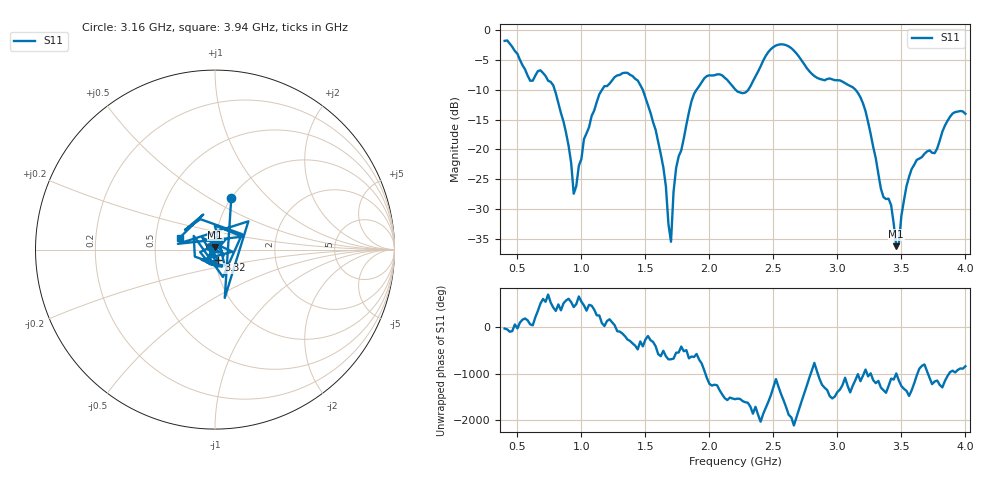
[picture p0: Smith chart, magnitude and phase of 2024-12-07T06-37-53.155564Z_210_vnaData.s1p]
!Created with skrf (http://scikit-rf.org).
# Hz S RI R 50.0
!freq ReS11 ImS11
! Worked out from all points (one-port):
!   181 points, 400 MHz to 4 GHz, reference 50 ohm
!   lowest |S11| = -36.2 dB at 3.46 GHz (marker M1), VSWR 1.03, Z = 50 + j1.54 ohm
!   |S11| at or under -10 dB: 791.5 MHz to 1.16 GHz (368.7 MHz wide, 37.8 % of centre); 1.48 GHz to 1.899 GHz (419 MHz wide, 24.8 % of centre); 3.142 GHz to end of sweep (the widest 3 of 4)
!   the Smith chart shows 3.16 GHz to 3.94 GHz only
!   S11 on the Smith chart (normalised r, x): 3.16 GHz: 1.00, +0.63; 3.32 GHz: 1.03, -0.12; 3.94 GHz: 0.67, +0.09
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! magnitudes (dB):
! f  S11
! 400 MHz  -1.8
! 600 MHz  -8.5
! 780 MHz  -9.2
! 860 MHz  -15.3
! 940 MHz  -27.4
! 1.02 GHz  -18.3
! 1.14 GHz  -10.7
! 1.3 GHz  -7.5
! 1.44 GHz  -8.4
! 1.54 GHz  -13.8
! 1.64 GHz  -23.0
! 1.7 GHz  -35.5
! 1.72 GHz  -27.1
! 1.76 GHz  -21.2
! 1.86 GHz  -11.9
! 1.96 GHz  -8.1
! 2.2 GHz  -9.9
! 2.3 GHz  -10.1
! 2.5 GHz  -2.8
! 2.66 GHz  -3.4
! 3.1 GHz  -9.3
! 3.16 GHz  -10.5
! 3.32 GHz  -24.1
! 3.42 GHz  -29.4
! 3.46 GHz  -36.2
! 3.56 GHz  -24.6
! 3.94 GHz  -13.6
! 4 GHz  -14.0
